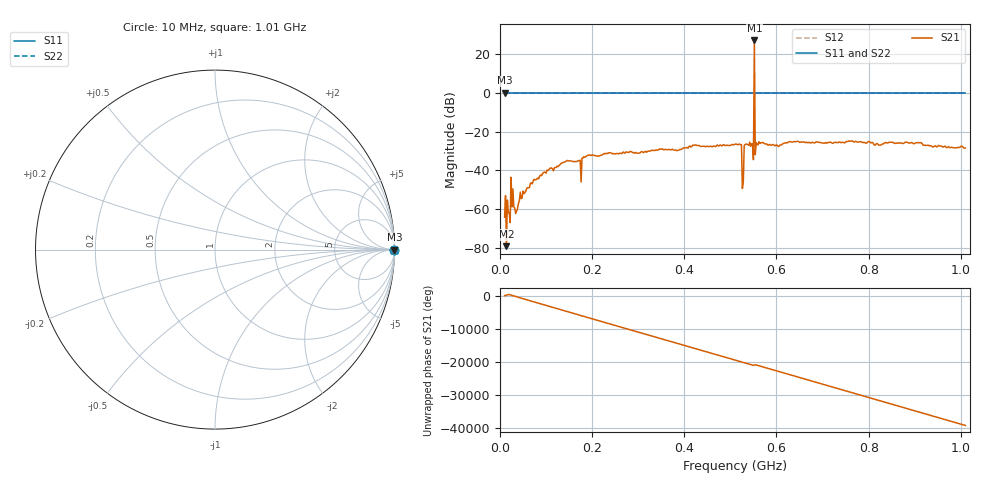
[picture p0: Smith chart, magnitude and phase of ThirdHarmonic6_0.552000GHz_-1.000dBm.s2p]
! 8/15/2025 5:30:13 PM
! C:\ANRITSUVNA\TEMP\TEMP.S2P
! CHANNEL.1
! TR.MEASUREMENT
! RAW.DATA
! RF.CORRECTION.OFF
! AVERAGING.OFF
! IF.BANDWIDTH: 5KHZ
! SWEEPTYPE:  FREQ.SWEEP(Linear)
! Reference Plane Port Info
! PORT:  PORT1  PORT2
! DISTANCE:  0  m  0  m
! TIME:  0  s  0  s
! PHASE.OFFSET:  0  deg.  0  deg.
! LOSS:  0  dB  0  dB
! REF.LOSS:  0  dB  0  dB
! REF.FREQ:  0  Hz  0  Hz
! Power Info
! POWER:  -20  dBm  -20  dBm
! EFF.POWER:  -20  dBm  -20  dBm
! SOURCE.ATTEN:  0  dB  0  dB
! TEST.ATTEN:  0  dB  0  dB
# GHZ S RI R 50.0
! FREQ.GHZ  S11RE  S11IM  S21RE  S21IM  S12RE  S12IM  S22RE  S22IM
!; PortSelection: Port_12
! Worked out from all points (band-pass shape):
!   501 points, 10 MHz to 1.01 GHz, reference 50 ohm
!   highest |S21| = 26.84 dB at 552 MHz (marker M1); lowest = -79.0 dB at 14 MHz (marker M2)
!   |S21| within 3 dB of the highest: 551.9022 MHz to 552.102 MHz (199.8 kHz wide, 0.0362 % of centre)
!   lowest |S11| = 0.0 dB at 10 MHz (marker M3)
!   |S11| at or under -10 dB: nowhere
!   |S22| runs from 0.0 to 0.0 dB; largest |S21 - S12| = 21
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0.01  1 0  -0.000571 0.000252  1 0  1 0
0.014  1 0  3.2e-05 -0.000108  1 0  1 0
0.018  1 0  -0.000651 0.000491  1 0  1 0
0.02  1 0  -0.000751 0.000377  1 0  1 0
0.028  1 0  -0.00333 -3.5e-05  1 0  1 0
0.036  1 0  -0.000791 -0.000414  1 0  1 0
0.106  1 0  -0.00825 -0.00649  1 0  1 0
0.178  1 0  -0.0207 -0.00064  1 0  1 0
0.344  1 0  0.027 -0.02  1 0  1 0
0.51  1 0  -0.0222 0.0414  1 0  1 0
0.52  1 0  0.014 0.0451  1 0  1 0
0.526  1 0  -0.00274 0.00208  1 0  1 0
0.53  1 0  0.036 0.0252  1 0  1 0
0.534  1 0  -0.0311 -0.0355  1 0  1 0
0.546  1 0  -0.0134 0.0465  1 0  1 0
0.548  1 0  0.0431 0.0215  1 0  1 0
0.552  1 0  19.98 9.139  1 0  1 0
0.556  1 0  0.0285 0.0435  1 0  1 0
0.558  1 0  0.0421 -0.0193  1 0  1 0
0.678  1 0  -0.053 -0.00104  1 0  1 0
0.844  1 0  0.044 -0.029  1 0  1 0
1.01  1 0  -0.0119 0.0356  1 0  1 0
